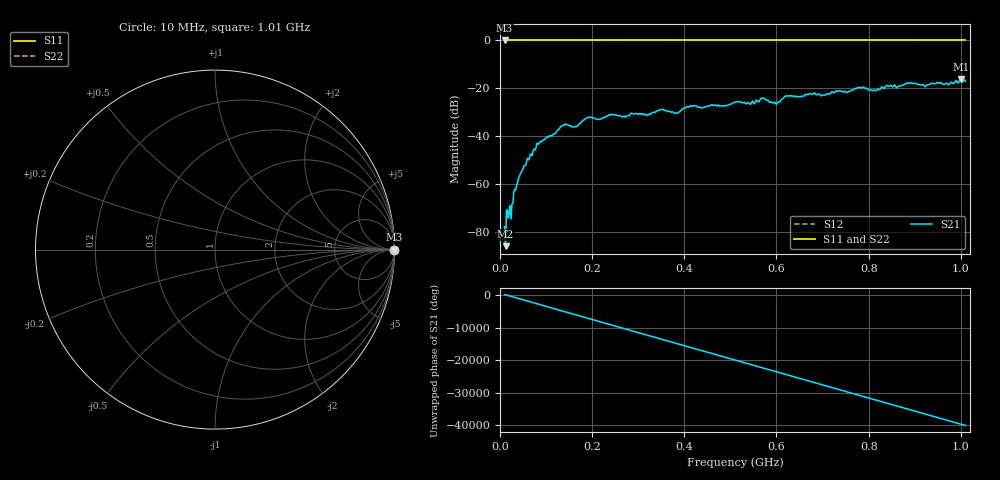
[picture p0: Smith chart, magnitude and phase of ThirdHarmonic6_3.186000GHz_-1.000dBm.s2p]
! 8/17/2025 9:38:10 AM
! C:\ANRITSUVNA\TEMP\TEMP.S2P
! CHANNEL.1
! TR.MEASUREMENT
! RAW.DATA
! RF.CORRECTION.OFF
! AVERAGING.OFF
! IF.BANDWIDTH: 5KHZ
! SWEEPTYPE:  FREQ.SWEEP(Linear)
! Reference Plane Port Info
! PORT:  PORT1  PORT2
! DISTANCE:  0  m  0  m
! TIME:  0  s  0  s
! PHASE.OFFSET:  0  deg.  0  deg.
! LOSS:  0  dB  0  dB
! REF.LOSS:  0  dB  0  dB
! REF.FREQ:  0  Hz  0  Hz
! Power Info
! POWER:  -20  dBm  -20  dBm
! EFF.POWER:  -20  dBm  -20  dBm
! SOURCE.ATTEN:  0  dB  0  dB
! TEST.ATTEN:  0  dB  0  dB
# GHZ S RI R 50.0
! FREQ.GHZ  S11RE  S11IM  S21RE  S21IM  S12RE  S12IM  S22RE  S22IM
!; PortSelection: Port_12
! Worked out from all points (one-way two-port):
!   501 points, 10 MHz to 1.01 GHz, reference 50 ohm
!   highest |S21| = -16.15 dB at 1 GHz (marker M1); lowest = -86.0 dB at 12 MHz (marker M2)
!   lowest |S11| = 0.0 dB at 10 MHz (marker M3)
!   |S11| at or under -10 dB: nowhere
!   |S22| runs from 0.0 to 0.0 dB; largest |S21 - S12| = 1.1
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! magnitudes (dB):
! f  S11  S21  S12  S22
! 10 MHz  0.0  -77.9  0.0  0.0
! 12 MHz  0.0  -86.0  0.0  0.0
! 18 MHz  0.0  -74.3  0.0  0.0
! 22 MHz  0.0  -69.2  0.0  0.0
! 34 MHz  0.0  -62.6  0.0  0.0
! 44 MHz  0.0  -55.7  0.0  0.0
! 84 MHz  0.0  -43.4  0.0  0.0
! 136 MHz  0.0  -35.7  0.0  0.0
! 164 MHz  0.0  -36.2  0.0  0.0
! 178 MHz  0.0  -33.7  0.0  0.0
! 344 MHz  0.0  -29.4  0.0  0.0
! 382 MHz  0.0  -30.3  0.0  0.0
! 416 MHz  0.0  -27.5  0.0  0.0
! 510 MHz  0.0  -25.7  0.0  0.0
! 570 MHz  0.0  -24.0  0.0  0.0
! 598 MHz  0.0  -26.3  0.0  0.0
! 622 MHz  0.0  -23.1  0.0  0.0
! 678 MHz  0.0  -22.5  0.0  0.0
! 814 MHz  0.0  -20.8  0.0  0.0
! 844 MHz  0.0  -19.2  0.0  0.0
! 1 GHz  0.0  -16.1  0.0  0.0
! 1.01 GHz  0.0  -17.0  0.0  0.0
